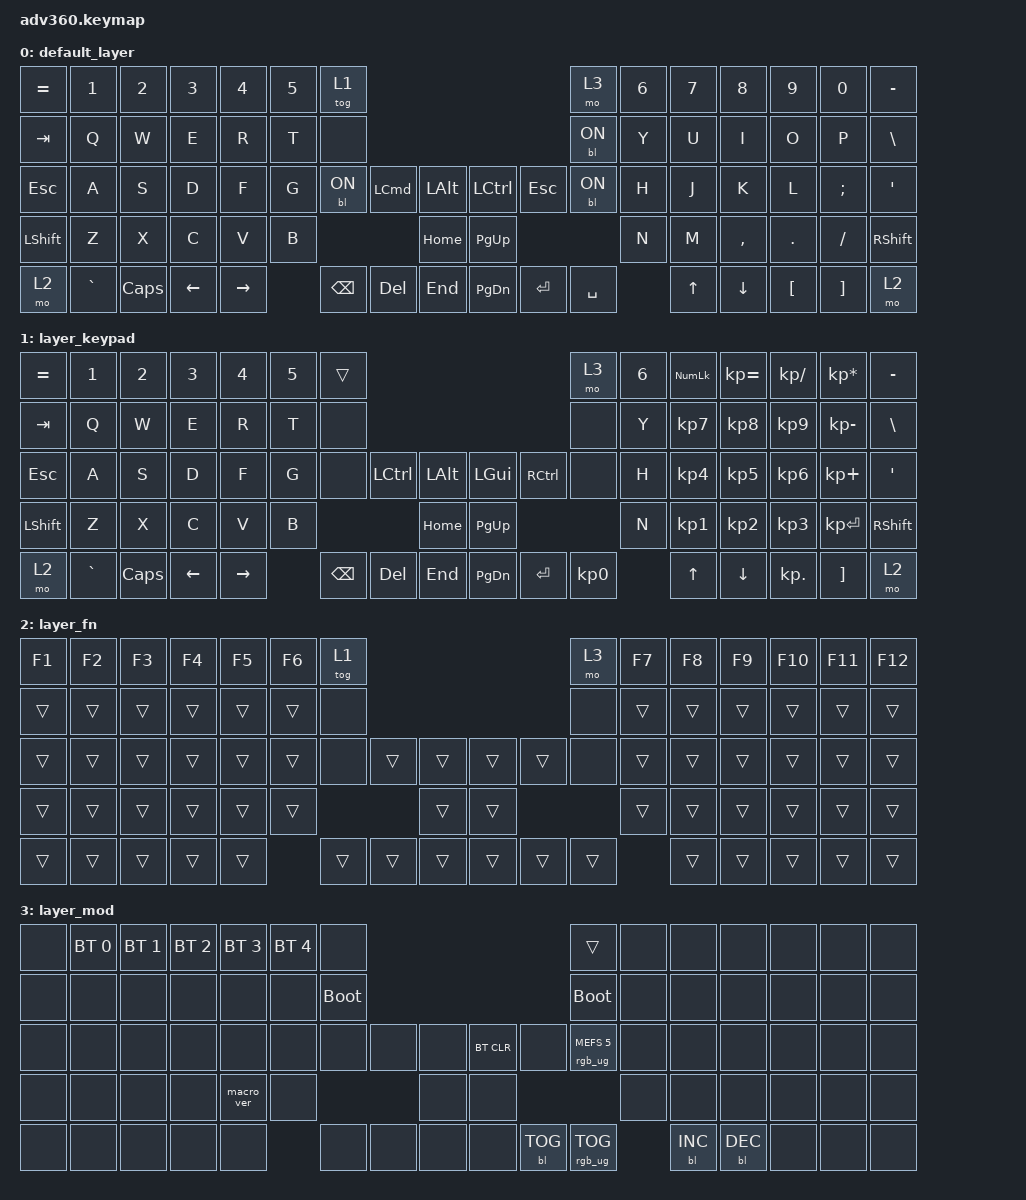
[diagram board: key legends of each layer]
/*
 * Copyright (c) 2020 The ZMK Contributors
 *
 * SPDX-License-Identifier: MIT
 */
/* THIS FILE WAS GENERATED!
 *
 * This file was generated automatically. You may or may not want to
 * edit it directly.
 */

#include <behaviors.dtsi>
#include <dt-bindings/zmk/backlight.h>
#include <dt-bindings/zmk/bt.h>
#include <dt-bindings/zmk/keys.h>
#include <dt-bindings/zmk/rgb.h>

/ {
    behaviors {
        #include "macros.dtsi"
    #include "version.dtsi"

        hm: homerow_mods {
            compatible = "zmk,behavior-hold-tap";
            label = "HOMEROW_MODS";
            #binding-cells = <2>;
            tapping-term-ms = <200>;
            quick_tap_ms = <175>;
            flavor = "tap-preferred";
            bindings = <&kp>, <&kp>;
        };
    };

    macros {
        macro_kubectl: kubectl {
            compatible = "zmk,behavior-macro";
            #binding-cells = <0>;
            bindings = <&kp K &kp U &kp B &kp E &kp C &kp T &kp L &kp SPACE &kp MINUS &kp MINUS &kp C &kp O &kp N &kp T &kp E &kp X &kp T &kp SPACE>;
            label = "KUBECTL";
        };

        macro_helm: helm {
            compatible = "zmk,behavior-macro";
            #binding-cells = <0>;
            bindings = <&kp H &kp E &kp L &kp M &kp SPACE &kp MINUS &kp MINUS &kp K &kp U &kp B &kp E &kp MINUS &kp C &kp O &kp N &kp T &kp E &kp X &kp T &kp SPACE>;
            label = "HELM";
        };

        macro_sudo: sudo {
            compatible = "zmk,behavior-macro";
            #binding-cells = <0>;
            bindings = <&kp S &kp U &kp D &kp O &kp SPACE &kp S &kp U &kp SPACE &kp MINUS &kp ENTER>;
            label = "SUDO";
        };
    };

    keymap {
        compatible = "zmk,keymap";

        default_layer {
            bindings = <
&kp EQUAL  &kp N1     &kp N2    &kp N3    &kp N4     &kp N5  &tog 1                                                           &mo 3      &kp N6  &kp N7  &kp N8     &kp N9    &kp N0    &kp MINUS
&kp TAB    &kp Q      &kp W     &kp E     &kp R      &kp T   &none                                                            &bl BL_ON  &kp Y   &kp U   &kp I      &kp O     &kp P     &kp BSLH
&kp ESC    &kp A      &kp S     &kp D     &kp F      &kp G   &bl BL_ON  &kp LEFT_COMMAND  &kp LALT      &kp LCTRL  &kp ESC    &bl BL_ON  &kp H   &kp J   &kp K      &kp L     &kp SEMI  &kp SQT
&kp LSHFT  &kp Z      &kp X     &kp C     &kp V      &kp B                                &kp HOME      &kp PG_UP                        &kp N   &kp M   &kp COMMA  &kp DOT   &kp FSLH  &kp RSHFT
&mo 2      &kp GRAVE  &kp CAPS  &kp LEFT  &kp RIGHT          &kp BSPC   &kp DEL           &kp END       &kp PG_DN  &kp ENTER  &kp SPACE          &kp UP  &kp DOWN   &kp LBKT  &kp RBKT  &mo 2
            >;
        };

        layer_keypad {
            bindings = <
&kp EQUAL  &kp N1     &kp N2    &kp N3    &kp N4     &kp N5  &trans                                                   &mo 3      &kp N6  &kp KP_NUM  &kp KP_EQUAL  &kp KP_DIVIDE  &kp KP_MULTIPLY  &kp MINUS
&kp TAB    &kp Q      &kp W     &kp E     &kp R      &kp T   &none                                                    &none      &kp Y   &kp KP_N7   &kp KP_N8     &kp KP_N9      &kp KP_MINUS     &kp BSLH
&kp ESC    &kp A      &kp S     &kp D     &kp F      &kp G   &none     &kp LCTRL  &kp LALT      &kp LGUI   &kp RCTRL  &none      &kp H   &kp KP_N4   &kp KP_N5     &kp KP_N6      &kp KP_PLUS      &kp SQT
&kp LSHFT  &kp Z      &kp X     &kp C     &kp V      &kp B                        &kp HOME      &kp PG_UP                        &kp N   &kp KP_N1   &kp KP_N2     &kp KP_N3      &kp KP_ENTER     &kp RSHFT
&mo 2      &kp GRAVE  &kp CAPS  &kp LEFT  &kp RIGHT          &kp BSPC  &kp DEL    &kp END       &kp PG_DN  &kp ENTER  &kp KP_N0          &kp UP      &kp DOWN      &kp KP_DOT     &kp RBKT         &mo 2
            >;
        };

        layer_fn {
            bindings = <
&kp F1  &kp F2  &kp F3  &kp F4  &kp F5  &kp F6  &tog 1                                      &mo 3   &kp F7  &kp F8  &kp F9  &kp F10  &kp F11  &kp F12
&trans  &trans  &trans  &trans  &trans  &trans  &none                                       &none   &trans  &trans  &trans  &trans   &trans   &trans
&trans  &trans  &trans  &trans  &trans  &trans  &none   &trans  &trans      &trans  &trans  &none   &trans  &trans  &trans  &trans   &trans   &trans
&trans  &trans  &trans  &trans  &trans  &trans                  &trans      &trans                  &trans  &trans  &trans  &trans   &trans   &trans
&trans  &trans  &trans  &trans  &trans          &trans  &trans  &trans      &trans  &trans  &trans          &trans  &trans  &trans   &trans   &trans
            >;
        };

        layer_mod {
            bindings = <
&none  &bt BT_SEL 0  &bt BT_SEL 1  &bt BT_SEL 2  &bt BT_SEL 3  &bt BT_SEL 4  &none                                                  &trans                  &none  &none       &none       &none  &none  &none
&none  &none         &none         &none         &none         &none         &bootloader                                            &bootloader             &none  &none       &none       &none  &none  &none
&none  &none         &none         &none         &none         &none         &none        &none  &none      &bt BT_CLR  &none       &rgb_ug RGB_MEFS_CMD 5  &none  &none       &none       &none  &none  &none
&none  &none         &none         &none         &macro_ver    &none                             &none      &none                                           &none  &none       &none       &none  &none  &none
&none  &none         &none         &none         &none                       &none        &none  &none      &none       &bl BL_TOG  &rgb_ug RGB_TOG                &bl BL_INC  &bl BL_DEC  &none  &none  &none
            >;
        };
    };
};
